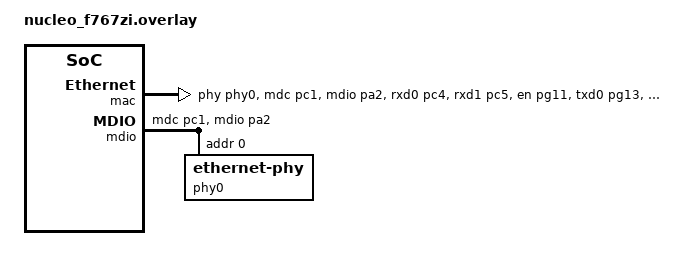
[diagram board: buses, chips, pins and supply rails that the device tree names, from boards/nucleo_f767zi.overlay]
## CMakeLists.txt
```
# CMake build configuration for Zephyr RTOS application
# This file tells the build system how to compile our embedded application

# Require minimum CMake version for modern features
cmake_minimum_required(VERSION 3.20.0)

# Export compile_commands.json for IDE IntelliSense
set(CMAKE_EXPORT_COMPILE_COMMANDS ON)

# Add device tree overlay for board-specific Ethernet configuration
# MUST be set before find_package(Zephyr)
# Disabled: board already provides correct Ethernet/PHY configuration
# set(DTC_OVERLAY_FILE "boards/nucleo_f767zi.overlay")

# Find and load the Zephyr RTOS build system
# ZEPHYR_BASE environment variable points to Zephyr installation
find_package(Zephyr REQUIRED HINTS $ENV{ZEPHYR_BASE})

# Define our project name (used in build outputs)
project(k2_zephyr_app)

# Use OpenOCD (from Zephyr SDK) as default flash/debug runner
set(BOARD_FLASH_RUNNER openocd)
set(BOARD_DEBUG_RUNNER openocd)

# Tell Zephyr to compile our main source file into the application
# 'app' is Zephyr's standard target name for the main application binary
target_sources(app PRIVATE src/main.c
                           src/led.c
                           src/net.c
                           src/control.c)
```

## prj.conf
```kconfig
# Zephyr Project Configuration File
# This file enables/disables features and sets build-time options
# Each CONFIG_ line enables a specific feature or subsystem

# ==================== LOGGING & CONSOLE ====================
# Enable the logging subsystem for debug messages
CONFIG_LOG=y
# Set log level: 0=OFF, 1=ERROR, 2=WARN, 3=INFO, 4=DEBUG
CONFIG_LOG_DEFAULT_LEVEL=3
# Enable console output over UART (serial port)
CONFIG_UART_CONSOLE=y

# ==================== NETWORKING STACK ====================
# Enable the core networking subsystem
CONFIG_NETWORKING=y
# Enable IPv4 protocol support
CONFIG_NET_IPV4=y
# Disable DHCP client - using static IP instead
CONFIG_NET_DHCPV4=n
# Enable static IP configuration
CONFIG_NET_CONFIG_SETTINGS=y
CONFIG_NET_CONFIG_MY_IPV4_ADDR="192.168.1.100"
CONFIG_NET_CONFIG_MY_IPV4_NETMASK="255.255.255.0"
CONFIG_NET_CONFIG_MY_IPV4_GW="192.168.1.1"
# Enable Ethernet as a Layer 2 protocol (this enables Ethernet support)
CONFIG_NET_L2_ETHERNET=y
# Enable UDP protocol support
CONFIG_NET_UDP=y
# Enable BSD socket API for easier network programming
CONFIG_NET_SOCKETS=y
# Disable POSIX socket names, we use zsock_* explicitly
# (No assignment here; symbol may not exist in this Zephyr version)
# Enable Ethernet driver for STM32 (STM32F767ZI has built-in Ethernet MAC)
CONFIG_ETH_STM32_HAL=y
# Enable network buffer management
CONFIG_NET_BUF=y
# Increase network buffer pools for better performance
CONFIG_NET_PKT_RX_COUNT=16
CONFIG_NET_PKT_TX_COUNT=16
# Enable network management for monitoring connection status
CONFIG_NET_MGMT=y
CONFIG_NET_MGMT_EVENT=y
# Increase network memory pools
CONFIG_NET_BUF_RX_COUNT=16
CONFIG_NET_BUF_TX_COUNT=16
CONFIG_NET_BUF_DATA_SIZE=128
# Enable network statistics for debugging
CONFIG_NET_STATISTICS=y

# ==================== GPIO & HARDWARE ====================
# Enable GPIO (General Purpose Input/Output) for LED control
CONFIG_GPIO=y

# ==================== DEBUGGING & DIAGNOSTICS ====================
# Enable thread stack information for debugging
CONFIG_THREAD_STACK_INFO=y
# Initialize stack memory to help detect stack overflows
CONFIG_INIT_STACKS=y

# ==================== C LIBRARY ====================
# Use newlib C library instead of minimal libc
CONFIG_NEWLIB_LIBC=y
# Enable floating point support in printf/sprintf functions
CONFIG_NEWLIB_LIBC_FLOAT_PRINTF=y
# Enable POSIX API support
# (Do not force-disable here; omit this in prj.conf)
# Increase main thread stack size for networking
CONFIG_MAIN_STACK_SIZE=4096
```

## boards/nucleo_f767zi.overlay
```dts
/*
 * Device Tree Overlay for NUCLEO-F767ZI Ethernet Configuration
 * 
 * This overlay configures the STM32F767ZI's built-in Ethernet MAC
 * to work with the LAN8742A PHY chip on the NUCLEO board.
 */

&mac {
	status = "okay";
	pinctrl-0 = <&eth_mdc_pc1 &eth_mdio_pa2 &eth_rxd0_pc4 &eth_rxd1_pc5
		     &eth_tx_en_pg11 &eth_txd0_pg13 &eth_txd1_pb13
		     &eth_rx_dv_pa7 &eth_ref_clk_pa1>;
	pinctrl-names = "default";
	phy-handle = <&phy0>;
};

&mdio {
	status = "okay";
	pinctrl-0 = <&eth_mdc_pc1 &eth_mdio_pa2>;
	pinctrl-names = "default";

	phy0: ethernet-phy@0 {
		compatible = "ethernet-phy";
		reg = <0>;
		status = "okay";
	};
};
```

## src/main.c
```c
/*
 * K2 Zephyr Application - LED Control
 * 
 * This application demonstrates basic embedded programming concepts:
 * 1. GPIO control (blinking LED)
 * 2. Real-time scheduling (periodic tasks)
 * 3. Logging system for debug output
 * 4. Networking (UDP server)
 * 
 * Target Hardware: ST NUCLEO-F767ZI development board
 * - Green LED on pin PA5 (controlled via GPIO)
 * - UART console for debug messages (115200 baud via ST-LINK USB)
 */

// Include Zephyr RTOS headers - these provide the APIs we need
#include <zephyr/kernel.h>
#include <zephyr/drivers/gpio.h>
#include <zephyr/logging/log.h>
#include <zephyr/net/socket.h> // added for zsock_close
#include <stdint.h>
#include "led.h"
#include "net.h"
#include "control.h"

// Register this source file as a log module named "k2_app" with INFO level
// This allows us to use LOG_INF(), LOG_ERR(), etc. in our code
LOG_MODULE_REGISTER(k2_app, LOG_LEVEL_INF);

/*
 * Main Application Entry Point
 * 
 * In embedded systems, main() typically:
 * 1. Initializes hardware and subsystems
 * 2. Sets up any required callbacks or interrupts  
 * 3. Enters an infinite loop to handle the main application logic
 * 
 * Unlike desktop programs that exit when done, embedded applications
 * run continuously until power is removed.
 */
int main(void)
{
    LOG_INF("=== K2 Zephyr Application Starting ===");
    LOG_INF("Board: %s", CONFIG_BOARD);
    
    /* 
     * INITIALIZATION PHASE
     * Set up all hardware and software components before main loop
     */
    
    // Initialize the LED GPIO pin
    led_init();

    // Initialize ROV control system
    rov_control_init();
    
    // Initialize networking
    network_init();

    // Start ROV control thread
    rov_control_start();
    
    // Start UDP server thread
    udp_server_start();

    /*
     * MAIN APPLICATION LOOP
     * 
     * Monitor network status and UDP server operation
     * No LED blinking - UDP server now processes structured packets silently
     */

    //uint32_t loop_count = 0; // Count main loop iterations
    
    LOG_INF("Starting main loop");
    LOG_INF("UDP server will validate structured packets (sequence + payload + CRC32)");
    LOG_INF("Payload will be forwarded to ROV control system");
    
    while (1) {  // Infinite loop - runs forever
        
        // Increment counter and log current state
        //loop_count++;
        
        if (network_ready) {
            //LOG_INF("Loop #%u: Network ready, UDP server processing packets", loop_count);
            LOG_INF("Network ready, UDP server processing packets");
        } else {
            //LOG_INF("Loop #%u: Waiting for network...", loop_count);
            LOG_INF("Network not ready, waiting...");
        }

        // Sleep for 10 seconds (longer interval for status updates)
        k_sleep(K_SECONDS(10));
    }
    
    // Cleanup (never reached in embedded systems)
    if (udp_sock >= 0) {
        zsock_close(udp_sock);
    }
    return 0;
}
```

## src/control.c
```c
#include <zephyr/kernel.h>
#include <zephyr/logging/log.h>
#include <zephyr/drivers/gpio.h>

#include "control.h"
#include "led.h"

LOG_MODULE_DECLARE(k2_app);

// Thread stack and data
K_THREAD_STACK_DEFINE(rov_control_stack, 2048);
static struct k_thread rov_control_thread_data;

// Message queue for receiving commands from network thread
K_MSGQ_DEFINE(rov_command_queue, sizeof(rov_command_t), 10, 4);

/**
 * 6DOF ROV control function - perfect for matrix calculations
 * @param surge: Forward/backward movement (-128 to +127)
 * @param sway: Left/right movement (-128 to +127) 
 * @param heave: Up/down movement (-128 to +127)
 * @param roll: Roll rotation (-128 to +127)
 * @param pitch: Pitch rotation (-128 to +127)
 * @param yaw: Yaw rotation (-128 to +127)
 */
void rov_6dof_control(int8_t surge, int8_t sway, int8_t heave, 
                     int8_t roll, int8_t pitch, int8_t yaw)
{
    LOG_INF("=== 6DOF CONTROL ===");
    LOG_INF("Surge: %+4d", surge);   // Forward/Back
    LOG_INF("Sway:  %+4d", sway);    // Left/Right
    LOG_INF("Heave: %+4d", heave);   // Up/Down
    LOG_INF("Roll:  %+4d", roll);    // Roll rotation
    LOG_INF("Pitch: %+4d", pitch);   // Pitch rotation
    LOG_INF("Yaw:   %+4d", yaw);     // Yaw rotation
    
    // TODO: Apply your matrix calculations here
    // Example: thruster_output = thruster_matrix * [surge, sway, heave, roll, pitch, yaw]
    
    LOG_INF("==================");
}

/**
 * Control light brightness
 */
static void rov_set_light(uint8_t brightness)
{
    if (brightness > 0) {
        LOG_INF("Light: %d%% (%d/255)", (brightness * 100) / 255, brightness);
        // TODO: Control light PWM
    }
}

/**
 * Control manipulator position
 */
static void rov_set_manipulator(uint8_t position)
{
    if (position > 0) {
        LOG_INF("Manipulator: %d", position);
        // TODO: Control manipulator servo
    }
}

/**
 * ROV control thread - processes incoming commands from queue
 */
static void rov_control_thread(void *arg1, void *arg2, void *arg3)
{
    ARG_UNUSED(arg1);
    ARG_UNUSED(arg2);
    ARG_UNUSED(arg3);
    
    rov_command_t command;
    
    LOG_INF("ROV Control thread started");
    LOG_INF("Waiting for 6DOF commands...");
    
    while (1) {
        // Wait for a command from the network thread
        if (k_msgq_get(&rov_command_queue, &command, K_FOREVER) == 0) {
            
            LOG_INF("Processing ROV command #%u", command.sequence);
            
            // Call 6DOF function with parsed values
            rov_6dof_control(command.surge, command.sway, command.heave,
                           command.roll, command.pitch, command.yaw);
            
            // Handle auxiliary controls
            if (command.light > 0) {
                rov_set_light(command.light);
            }
            
            if (command.manipulator > 0) {
                rov_set_manipulator(command.manipulator);
            }
            
            // Visual feedback
            gpio_pin_toggle_dt(&led);
            
            // Small delay to prevent overwhelming the system
            k_sleep(K_MSEC(10));
        }
    }
}

/**
 * Initialize ROV control system
 */
void rov_control_init(void)
{
    LOG_INF("Initializing ROV 6DOF control system...");
    LOG_INF("Command queue capacity: 10 commands");
    
    // TODO: Initialize hardware components here
    // Examples:
    // - PWM controllers for thrusters
    // - Servo controllers for manipulator
    // - LED PWM for lights
    
    LOG_INF("ROV control system initialized");
}

/**
 * Start ROV control thread
 */
void rov_control_start(void)
{
    k_tid_t thread_id;
    
    thread_id = k_thread_create(&rov_control_thread_data,
                               rov_control_stack,
                               K_THREAD_STACK_SIZEOF(rov_control_stack),
                               rov_control_thread,
                               NULL, NULL, NULL,
                               K_PRIO_COOP(8),  // Lower priority than network
                               0,
                               K_NO_WAIT);
    
    if (thread_id != NULL) {
        LOG_INF("ROV 6DOF control thread started successfully");
    } else {
        LOG_ERR("Failed to start ROV control thread");
    }
}

/**
 * Send a command to the ROV control thread
 * @param sequence: Command sequence number
 * @param payload: 64-bit payload containing control data
 */
void rov_send_command(uint32_t sequence, uint64_t payload)
{
    rov_command_t command;
    
    // Parse the payload and convert to signed ranges
    command.sequence = sequence;
    command.surge = (int8_t)((payload >> 0) & 0xFF) - 128;   // Bits 0-7
    command.sway = (int8_t)((payload >> 8) & 0xFF) - 128;    // Bits 8-15
    command.heave = (int8_t)((payload >> 16) & 0xFF) - 128;  // Bits 16-23
    command.roll = (int8_t)((payload >> 24) & 0xFF) - 128;   // Bits 24-31
    command.pitch = (int8_t)((payload >> 32) & 0xFF) - 128;  // Bits 32-39
    command.yaw = (int8_t)((payload >> 40) & 0xFF) - 128;    // Bits 40-47
    command.light = (uint8_t)((payload >> 48) & 0xFF);       // Bits 48-55
    command.manipulator = (uint8_t)((payload >> 56) & 0xFF); // Bits 56-63
    
    // Send command to ROV control thread
    if (k_msgq_put(&rov_command_queue, &command, K_NO_WAIT) != 0) {
        LOG_WRN("ROV command queue full! Command #%u dropped", sequence);
    } else {
        LOG_DBG("6DOF command #%u queued", sequence);
    }
}
```

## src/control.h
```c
#pragma once

#include <zephyr/kernel.h>
#include <stdint.h>

#ifdef __cplusplus
extern "C" {
#endif

// Message structure for communication between threads
typedef struct {
    uint32_t sequence;
    int8_t surge;        // Forward/backward (-128 to +127)
    int8_t sway;         // Left/right (-128 to +127)
    int8_t heave;        // Up/down (-128 to +127)
    int8_t roll;         // Roll rotation (-128 to +127)
    int8_t pitch;        // Pitch rotation (-128 to +127)
    int8_t yaw;          // Yaw rotation (-128 to +127)
    uint8_t light;       // Light brightness (0-255)
    uint8_t manipulator; // Manipulator position (0-255)
} rov_command_t;

// Public functions
void rov_control_init(void);
void rov_control_start(void);
void rov_send_command(uint32_t sequence, uint64_t payload);

// 6DOF control function
void rov_6dof_control(int8_t surge, int8_t sway, int8_t heave, 
                     int8_t roll, int8_t pitch, int8_t yaw);

#ifdef __cplusplus
}
#endif
```

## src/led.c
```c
#include <zephyr/drivers/gpio.h>
#include <zephyr/logging/log.h>

LOG_MODULE_DECLARE(k2_app);

const struct gpio_dt_spec led = GPIO_DT_SPEC_GET(DT_ALIAS(led0), gpios);

void led_init(void)
{
    if (!gpio_is_ready_dt(&led)) {
        LOG_ERR("LED GPIO device not ready");
        return;
    }
    
    int ret = gpio_pin_configure_dt(&led, GPIO_OUTPUT);
    if (ret < 0) {
        LOG_ERR("Failed to configure LED GPIO: %d", ret);
    } else {
        gpio_pin_set_dt(&led, 0);
        LOG_INF("LED initialized successfully on pin PA5");
    }
}
```

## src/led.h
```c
#pragma once

#include <zephyr/drivers/gpio.h>

#ifdef __cplusplus
extern "C" {
#endif

extern const struct gpio_dt_spec led;
void led_init(void);

#ifdef __cplusplus
}
#endif
```

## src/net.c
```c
// Zephyr RTOS kernel and logging headers
#include <zephyr/kernel.h>
#include <zephyr/logging/log.h>
// Zephyr networking stack headers for socket operations
#include <zephyr/net/socket.h>
#include <zephyr/net/net_if.h>
#include <zephyr/net/net_mgmt.h>
#include <zephyr/net/net_ip.h>
// Standard C library headers for string manipulation and I/O
#include <string.h>
#include <stdio.h>
#include <stdlib.h>
#include <errno.h>

// Include LED control header for visual feedback
#include "led.h"
#include "control.h"

// Declare this module for logging purposes
LOG_MODULE_DECLARE(k2_app);

// Network configuration constants
#define UDP_PORT 12345          // Port number for UDP server to listen on
#define RECV_BUFFER_SIZE 64     // Buffer size for incoming UDP messages

// Packet structure definition
typedef struct {
    uint32_t sequence;  // Sequence number
    uint64_t payload;   // Payload data
    uint32_t crc32;     // CRC32 checksum
} __attribute__((packed)) udp_packet_t;

// Static IP configuration - customize these for your network
#define STATIC_IP_ADDR "192.168.1.100"   // Device's static IP address
#define STATIC_NETMASK "255.255.255.0"   // Subnet mask
#define STATIC_GATEWAY "192.168.1.1"     // Default gateway address

// Network management callback structure for handling interface events
static struct net_mgmt_event_callback mgmt_cb;
bool network_ready = false;  // Flag to track network interface status

// UDP socket and thread management variables
int udp_sock = -1;                                    // UDP socket file descriptor
K_THREAD_STACK_DEFINE(udp_thread_stack, 2048);      // Stack space for UDP thread
struct k_thread udp_thread_data;                     // Thread control block

// Pre-computed CRC32 lookup table for faster calculation
static const uint32_t crc32_table[256] = {
    0x00000000, 0x77073096, 0xEE0E612C, 0x990951BA, 0x076DC419, 0x706AF48F,
    0xE963A535, 0x9E6495A3, 0x0EDB8832, 0x79DCB8A4, 0xE0D5E91E, 0x97D2D988,
    0x09B64C2B, 0x7EB17CBD, 0xE7B82D07, 0x90BF1D91, 0x1DB71064, 0x6AB020F2,
    0xF3B97148, 0x84BE41DE, 0x1ADAD47D, 0x6DDDE4EB, 0xF4D4B551, 0x83D385C7,
    0x136C9856, 0x646BA8C0, 0xFD62F97A, 0x8A65C9EC, 0x14015C4F, 0x63066CD9,
    0xFA0F3D63, 0x8D080DF5, 0x3B6E20C8, 0x4C69105E, 0xD56041E4, 0xA2677172,
    0x3C03E4D1, 0x4B04D447, 0xD20D85FD, 0xA50AB56B, 0x35B5A8FA, 0x42B2986C,
    0xDBBBC9D6, 0xACBCF940, 0x32D86CE3, 0x45DF5C75, 0xDCD60DCF, 0xABD13D59,
    0x26D930AC, 0x51DE003A, 0xC8D75180, 0xBFD06116, 0x21B4F4B5, 0x56B3C423,
    0xCFBA9599, 0xB8BDA50F, 0x2802B89E, 0x5F058808, 0xC60CD9B2, 0xB10BE924,
    0x2F6F7C87, 0x58684C11, 0xC1611DAB, 0xB6662D3D, 0x76DC4190, 0x01DB7106,
    0x98D220BC, 0xEFD5102A, 0x71B18589, 0x06B6B51F, 0x9FBFE4A5, 0xE8B8D433,
    0x7807C9A2, 0x0F00F934, 0x9609A88E, 0xE10E9818, 0x7F6A0DBB, 0x086D3D2D,
    0x91646C97, 0xE6635C01, 0x6B6B51F4, 0x1C6C6162, 0x856530D8, 0xF262004E,
    0x6C0695ED, 0x1B01A57B, 0x8208F4C1, 0xF50FC457, 0x65B0D9C6, 0x12B7E950,
    0x8BBEB8EA, 0xFCB9887C, 0x62DD1DDF, 0x15DA2D49, 0x8CD37CF3, 0xFBD44C65,
    0x4DB26158, 0x3AB551CE, 0xA3BC0074, 0xD4BB30E2, 0x4ADFA541, 0x3DD895D7,
    0xA4D1C46D, 0xD3D6F4FB, 0x4369E96A, 0x346ED9FC, 0xAD678846, 0xDA60B8D0,
    0x44042D73, 0x33031DE5, 0xAA0A4C5F, 0xDD0D7CC9, 0x5005713C, 0x270241AA,
    0xBE0B1010, 0xC90C2086, 0x5768B525, 0x206F85B3, 0xB966D409, 0xCE61E49F,
    0x5EDEF90E, 0x29D9C998, 0xB0D09822, 0xC7D7A8B4, 0x59B33D17, 0x2EB40D81,
    0xB7BD5C3B, 0xC0BA6CAD, 0xEDB88320, 0x9ABFB3B6, 0x03B6E20C, 0x74B1D29A,
    0xEAD54739, 0x9DD277AF, 0x04DB2615, 0x73DC1683, 0xE3630B12, 0x94643B84,
    0x0D6D6A3E, 0x7A6A5AA8, 0xE40ECF0B, 0x9309FF9D, 0x0A00AE27, 0x7D079EB1,
    0xF00F9344, 0x8708A3D2, 0x1E01F268, 0x6906C2FE, 0xF762575D, 0x806567CB,
    0x196C3671, 0x6E6B06E7, 0xFED41B76, 0x89D32BE0, 0x10DA7A5A, 0x67DD4ACC,
    0xF9B9DF6F, 0x8EBEEFF9, 0x17B7BE43, 0x60B08ED5, 0xD6D6A3E8, 0xA1D1937E,
    0x38D8C2C4, 0x4FDFF252, 0xD1BB67F1, 0xA6BC5767, 0x3FB506DD, 0x48B2364B,
    0xD80D2BDA, 0xAF0A1B4C, 0x36034AF6, 0x41047A60, 0xDF60EFC3, 0xA867DF55,
    0x316E8EEF, 0x4669BE79, 0xCB61B38C, 0xBC66831A, 0x256FD2A0, 0x5268E236,
    0xCC0C7795, 0xBB0B4703, 0x220216B9, 0x5505262F, 0xC5BA3BBE, 0xB2BD0B28,
    0x2BB45A92, 0x5CB36A04, 0xC2D7FFA7, 0xB5D0CF31, 0x2CD99E8B, 0x5BDEAE1D,
    0x9B64C2B0, 0xEC63F226, 0x756AA39C, 0x026D930A, 0x9C0906A9, 0xEB0E363F,
    0x72076785, 0x05005713, 0x95BF4A82, 0xE2B87A14, 0x7BB12BAE, 0x0CB61B38,
    0x92D28E9B, 0xE5D5BE0D, 0x7CDCEFB7, 0x0BDBDF21, 0x86D3D2D4, 0xF1D4E242,
    0x68DDB3F8, 0x1FDA836E, 0x81BE16CD, 0xF6B9265B, 0x6FB077E1, 0x18B74777,
    0x88085AE6, 0xFF0F6A70, 0x66063BCA, 0x11010B5C, 0x8F659EFF, 0xF862AE69,
    0x616BFFD3, 0x166CCF45, 0xA00AE278, 0xD70DD2EE, 0x4E048354, 0x3903B3C2,
    0xA7672661, 0xD06016F7, 0x4969474D, 0x3E6E77DB, 0xAED16A4A, 0xD9D65ADC,
    0x40DF0B66, 0x37D83BF0, 0xA9BCAE53, 0xDEBB9EC5, 0x47B2CF7F, 0x30B5FFE9,
    0xBDBDF21C, 0xCABAC28A, 0x53B39330, 0x24B4A3A6, 0xBAD03605, 0xCDD70693,
    0x54DE5729, 0x23D967BF, 0xB3667A2E, 0xC4614AB8, 0x5D681B02, 0x2A6F2B94,
    0xB40BBE37, 0xC30C8EA1, 0x5A05DF1B, 0x2D02EF8D
};

/**
 * Network management event handler - called when network interface events occur
 * @param cb: Callback structure (unused)
 * @param mgmt_event: Type of network management event
 * @param iface: Network interface that generated the event
 */
static void net_mgmt_event_handler(struct net_mgmt_event_callback *cb,
                                   uint64_t mgmt_event, struct net_if *iface)
{
    // Check if network interface came up
    if (mgmt_event == NET_EVENT_IF_UP) {
        LOG_INF("Network interface is up - network is ready");
        network_ready = true;  // Set flag to indicate network is available
    } 
    // Check if network interface went down
    else if (mgmt_event == NET_EVENT_IF_DOWN) {
        LOG_WRN("Network interface is down");
        network_ready = false;  // Clear network ready flag
    }
}

/**
 * Parse IPv4 address string into binary format
 * @param str: String representation of IP address (e.g., "192.168.1.100")
 * @param addr: Output structure to store parsed address
 * @return: 0 on success, negative error code on failure
 */
static inline int parse_ipv4_addr(const char *str, struct in_addr *addr) // ⚡ Added: inline
{
    unsigned int a, b, c, d;
    
    // Validate and parse the IPv4 address string
    if (sscanf(str, "%u.%u.%u.%u", &a, &b, &c, &d) != 4 || 
        a > 255 || b > 255 || c > 255 || d > 255) {
        return -EINVAL;
    }
    
    addr->s_addr = htonl((a << 24) | (b << 16) | (c << 8) | d);
    return 0;
}

/**
 * Configure static IP settings for the network interface
 * @param iface: Network interface to configure
 * @return: 0 on success, negative error code on failure
 */
static int configure_static_ip(struct net_if *iface)
{
    struct in_addr addr;     // IP address structure
    struct in_addr netmask;  // Netmask structure
    struct in_addr gateway;  // Gateway address structure
    int ret;

    // Configure IP address
    ret = parse_ipv4_addr(STATIC_IP_ADDR, &addr);
    if (ret < 0) {
        LOG_ERR("Invalid IP address format: %s", STATIC_IP_ADDR);
        return -EINVAL;
    }
    // Add the IP address to the interface with manual configuration
    net_if_ipv4_addr_add(iface, &addr, NET_ADDR_MANUAL, 0);

    // Configure netmask (subnet mask)
    ret = parse_ipv4_addr(STATIC_NETMASK, &netmask);
    if (ret < 0) {
        LOG_ERR("Invalid netmask format: %s", STATIC_NETMASK);
        return -EINVAL;
    }
    // Set the netmask for the configured IP address
    net_if_ipv4_set_netmask_by_addr(iface, &addr, &netmask);

    // Configure gateway (default route)
    ret = parse_ipv4_addr(STATIC_GATEWAY, &gateway);
    if (ret < 0) {
        LOG_ERR("Invalid gateway format: %s", STATIC_GATEWAY);
        return -EINVAL;
    }
    // Set the default gateway for the interface
    net_if_ipv4_set_gw(iface, &gateway);

    // Log the complete static IP configuration for verification
    LOG_INF("Static IP configuration:");
    LOG_INF("  IP: %s", STATIC_IP_ADDR);
    LOG_INF("  Netmask: %s", STATIC_NETMASK);
    LOG_INF("  Gateway: %s", STATIC_GATEWAY);

    return 0;  // Configuration successful
}

/**
 * Initialize the network subsystem with static IP configuration
 * This function sets up the network interface and applies static IP settings
 */
void network_init(void)
{
    struct net_if *iface;  // Network interface handle
    int ret;

    LOG_INF("Initializing network with static IP...");

    // Get the default network interface
    iface = net_if_get_default();
    if (!iface) {
        LOG_ERR("No network interface found");
        return;  // Cannot proceed without a network interface
    }

    // Initialize network management event callback to monitor interface status
    net_mgmt_init_event_callback(&mgmt_cb, net_mgmt_event_handler,
                                 NET_EVENT_IF_UP | NET_EVENT_IF_DOWN);
    // Register the callback with the network management subsystem
    net_mgmt_add_event_callback(&mgmt_cb);

    // Apply static IP configuration to the interface
    ret = configure_static_ip(iface);
    if (ret < 0) {
        LOG_ERR("Failed to configure static IP: %d", ret);
        return;  // Configuration failed
    }

    // Bring the network interface up (activate it)
    net_if_up(iface);
    
    // Allow some time for the interface to become operational
    k_sleep(K_MSEC(200));
    network_ready = true;  // Mark network as ready for use
    
    LOG_INF("Static IP configuration complete");
}

/**
 * Calculate CRC32 checksum using simple polynomial
 * @param data: Pointer to data to calculate CRC for
 * @param length: Length of data in bytes
 * @return: Calculated CRC32 value
 */
static inline uint32_t calculate_crc32(const void *data, size_t length)
{
    const uint8_t *bytes = (const uint8_t *)data;
    uint32_t crc = 0xFFFFFFFF;
    
    // CRC32 polynomial (IEEE 802.3)
    for (size_t i = 0; i < length; i++) {
        uint8_t index = (crc ^ bytes[i]) & 0xFF;
        crc = (crc >> 8) ^ crc32_table[index];
    }
    
    return ~crc;  // Final inversion
}

/**
 * Convert 64-bit value from network byte order to host byte order
 * @param value: 64-bit value in network byte order
 * @return: 64-bit value in host byte order
 */
static inline uint64_t net_to_host_64(uint64_t value)
{
#if __BYTE_ORDER__ == __ORDER_LITTLE_ENDIAN__
    return __builtin_bswap64(value); // ⚡ Hardware instruction vs manual swapping
#else
    return value;
#endif
}

/**
 * UDP server thread function - handles incoming UDP messages
 * This thread runs continuously, listening for UDP packets and responding
 * @param arg1, arg2, arg3: Thread arguments (unused)
 */
void udp_server_thread(void *arg1, void *arg2, void *arg3)
{
    ARG_UNUSED(arg1); ARG_UNUSED(arg2); ARG_UNUSED(arg3);

    struct sockaddr_in bind_addr, client_addr;
    socklen_t client_addr_len = sizeof(client_addr);
    
    // 🚀 PERFORMANCE: Direct struct receive (eliminates memcpy overhead)
    udp_packet_t packet; // ⚡ Direct to struct instead of buffer + casting
    
    int ret;

    while (!network_ready) {
        k_sleep(K_MSEC(100));
    }

    udp_sock = zsock_socket(AF_INET, SOCK_DGRAM, IPPROTO_UDP);
    if (udp_sock < 0) {
        LOG_ERR("Failed to create UDP socket: %d", udp_sock); // ⚡ Essential: socket creation failure
        return;
    }

    memset(&bind_addr, 0, sizeof(bind_addr));
    bind_addr.sin_family = AF_INET;
    bind_addr.sin_addr.s_addr = INADDR_ANY;
    bind_addr.sin_port = htons(UDP_PORT);

    ret = zsock_bind(udp_sock, (struct sockaddr *)&bind_addr, sizeof(bind_addr));
    if (ret < 0) {
        LOG_ERR("Failed to bind UDP socket: %d", ret); // ⚡ Essential: bind failure
        zsock_close(udp_sock);
        return;
    }

    LOG_INF("UDP server ready on port %d", UDP_PORT); // ⚡ Essential: startup confirmation

    while (1) {
        //PERFORMANCE: Direct struct receive (no buffer copying)
        ret = zsock_recvfrom(udp_sock, &packet, sizeof(packet), 0, // ⚡ Direct to struct
                             (struct sockaddr *)&client_addr, &client_addr_len);

        if (ret == sizeof(udp_packet_t)) {
            //TESTING: Print all packet values
            uint32_t recv_sequence = ntohl(packet.sequence);
            uint64_t recv_payload = net_to_host_64(packet.payload);
            uint32_t recv_crc = ntohl(packet.crc32);
            
            //LOG_INF("=== PACKET RECEIVED ===");
            //LOG_INF("Sequence: %u", recv_sequence);
            //LOG_INF("Payload:  0x%016llX", recv_payload);
            //LOG_INF("CRC32:    0x%08X", recv_crc);
            
            // Calculate CRC32 for validation
            uint32_t calculated_crc = calculate_crc32(&packet, 
                sizeof(packet.sequence) + sizeof(packet.payload));
            
            //LOG_INF("Calc CRC: 0x%08X", calculated_crc);
            
            //TESTING: Clear match/mismatch indication
            if (calculated_crc == recv_crc) {
                //LOG_INF("CRC MATCH - Packet is valid!");
                //gpio_pin_toggle_dt(&led); // Visual feedback

                // Forward command to control system
                rov_send_command(recv_sequence, recv_payload);
            } else {
                LOG_ERR("CRC MISMATCH - Packet corrupted!");
                LOG_ERR("Expected: 0x%08X, Got: 0x%08X", calculated_crc, recv_crc);
            }
            //LOG_INF("========================");
            
        } else if (ret < 0) {
            LOG_ERR("UDP recv error: %d", ret);
            k_sleep(K_MSEC(100));
        } else {
            //TESTING: Print wrong packet sizes for debugging
            LOG_WRN("Wrong packet size: got %d bytes, expected %d bytes", 
                    ret, sizeof(udp_packet_t));
        }
    }
}

/**
 * Start the UDP server by creating and launching the server thread
 * This function creates a new thread that will handle all UDP server operations
 */
void udp_server_start(void)
{
    k_tid_t thread_id;
    
    // Create and start the UDP server thread
    thread_id = k_thread_create(&udp_thread_data,
                               udp_thread_stack,
                               K_THREAD_STACK_SIZEOF(udp_thread_stack),
                               udp_server_thread,
                               NULL, NULL, NULL,
                               K_PRIO_COOP(7),
                               0,
                               K_NO_WAIT);
    
    if (thread_id != NULL) {
        LOG_INF("UDP server thread created successfully");
    } else {
        LOG_ERR("Failed to create UDP server thread");
    }
}
```

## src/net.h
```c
#pragma once

#include <zephyr/kernel.h>

#ifdef __cplusplus
extern "C" {
#endif

extern bool network_ready;

void network_init(void);
void udp_server_thread(void *arg1, void *arg2, void *arg3);
void udp_server_start(void); // start the UDP server thread (creates it internally)

extern int udp_sock;

#ifdef __cplusplus
}
#endif
```
